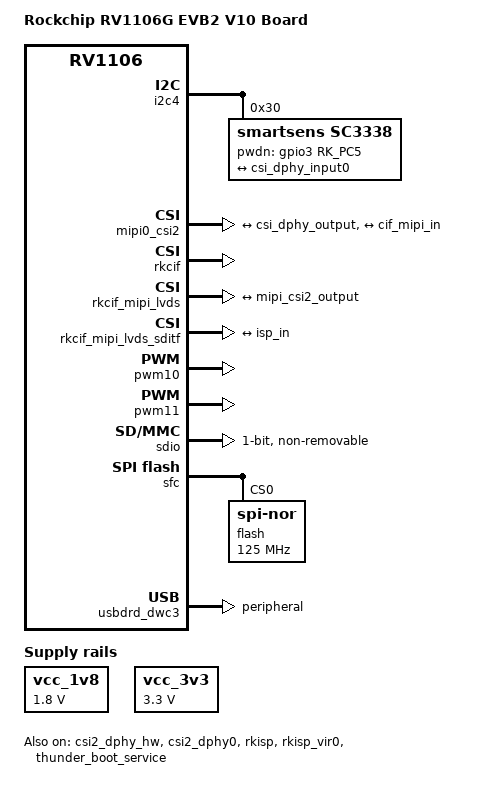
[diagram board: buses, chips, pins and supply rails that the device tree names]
// SPDX-License-Identifier: (GPL-2.0+ OR MIT)
/*
 * Copyright (c) 2022 Rockchip Electronics Co., Ltd.
 */

/dts-v1/;

#include "rv1106.dtsi"
#include "rv1106-evb-v10.dtsi"
#include "rv1106-thunder-boot-spi-nor.dtsi"

/ {
	model = "Rockchip RV1106G EVB2 V10 Board";
	compatible = "rockchip,rv1106g-evb2-v10", "rockchip,rv1106";

	chosen {
		bootargs = "loglevel=0 rootfstype=erofs rootflags=dax console=ttyFIQ0 root=/dev/rd0 snd_soc_core.prealloc_buffer_size_kbytes=16 coherent_pool=0 driver_async_probe=dwmmc_rockchip";
	};

	vcc_1v8: vcc-1v8 {
		compatible = "regulator-fixed";
		regulator-name = "vcc_1v8";
		regulator-always-on;
		regulator-boot-on;
		regulator-min-microvolt = <1800000>;
		regulator-max-microvolt = <1800000>;
	};

	vcc_3v3: vcc-3v3 {
		compatible = "regulator-fixed";
		regulator-name = "vcc_3v3";
		regulator-always-on;
		regulator-boot-on;
		regulator-min-microvolt = <3300000>;
		regulator-max-microvolt = <3300000>;
	};
};

&csi2_dphy_hw {
	status = "okay";
};

&csi2_dphy0 {
	status = "okay";

	ports {
		#address-cells = <1>;
		#size-cells = <0>;

		port@0 {
			reg = <0>;
			#address-cells = <1>;
			#size-cells = <0>;

			csi_dphy_input0: endpoint@0 {
				reg = <0>;
				remote-endpoint = <&sc3338_out>;
				data-lanes = <1 2>;
			};
		};

		port@1 {
			reg = <1>;
			#address-cells = <1>;
			#size-cells = <0>;

			csi_dphy_output: endpoint@0 {
				reg = <0>;
				remote-endpoint = <&mipi_csi2_input>;
			};
		};
	};
};

&emmc {
	status = "disabled";
};

&fiq_debugger {
	rockchip,baudrate = <1500000>;
	pinctrl-names = "default";
	pinctrl-0 = <&uart2m1_xfer>;
};

&i2c4 {
	rockchip,amp-shared;

	sc3338: sc3338@30 {
		compatible = "smartsens,sc3338";
		status = "okay";
		reg = <0x30>;
		clocks = <&cru MCLK_REF_MIPI0>;
		clock-names = "xvclk";
		pwdn-gpios = <&gpio3 RK_PC5 GPIO_ACTIVE_HIGH>;
		pinctrl-names = "default";
		pinctrl-0 = <&mipi_refclk_out0>;
		rockchip,camera-module-index = <0>;
		rockchip,camera-module-facing = "back";
		rockchip,camera-module-name = "FKO1";
		rockchip,camera-module-lens-name = "30IRC-F16";
		port {
			sc3338_out: endpoint {
				remote-endpoint = <&csi_dphy_input0>;
				data-lanes = <1 2>;
			};
		};
	};
};

&mipi0_csi2 {
	status = "okay";

	ports {
		#address-cells = <1>;
		#size-cells = <0>;

		port@0 {
			reg = <0>;
			#address-cells = <1>;
			#size-cells = <0>;

			mipi_csi2_input: endpoint@1 {
				reg = <1>;
				remote-endpoint = <&csi_dphy_output>;
			};
		};

		port@1 {
			reg = <1>;
			#address-cells = <1>;
			#size-cells = <0>;

			mipi_csi2_output: endpoint@0 {
				reg = <0>;
				remote-endpoint = <&cif_mipi_in>;
			};
		};
	};
};

&mailbox {
	status = "okay";
};

&rkcif {
	status = "okay";
};

&rkcif_mipi_lvds {
	status = "okay";
	memory-region-thunderboot = <&rkisp_thunderboot>;

	pinctrl-names = "default";
	pinctrl-0 = <&mipi_pins>;
	port {
		/* MIPI CSI-2 endpoint */
		cif_mipi_in: endpoint {
			remote-endpoint = <&mipi_csi2_output>;
		};
	};
};

&rkcif_mipi_lvds_sditf {
	status = "okay";

	port {
		/* MIPI CSI-2 endpoint */
		mipi_lvds_sditf: endpoint {
			remote-endpoint = <&isp_in>;
		};
	};
};

&rkisp {
	status = "okay";
};

&rkisp_vir0 {
	status = "okay";

	port@0 {
		isp_in: endpoint {
			remote-endpoint = <&mipi_lvds_sditf>;
		};
	};
};

&thunder_boot_service {
	status = "okay";
};

&rkisp_thunderboot {
	/* reg's offset MUST match with RTOS */
	/*
	 * vicap, capture raw10, ceil(w*10/8/256)*256*h *4(buf num)
	 * e.g. 2304x1296: 0xf30000
	 */
	reg = <0x00860000 0xf30000>;
};

&ramdisk_r {
	reg = <0x1790000 (10 * 0x00100000)>;
};

&ramdisk_c {
	reg = <0x2190000 (5 * 0x00100000)>;
};

&pwm10 {
	status = "okay";
};

&pwm11 {
	status = "okay";
};

&sdio {
	max-frequency = <50000000>;
	bus-width = <1>;
	cap-sd-highspeed;
	cap-sdio-irq;
	keep-power-in-suspend;
	non-removable;
	rockchip,default-sample-phase = <90>;
	no-sd;
	no-mmc;
	supports-sdio;
	pinctrl-names = "default";
	pinctrl-0 = <&sdmmc1m0_cmd &sdmmc1m0_clk &sdmmc1m0_bus4>;
	status = "okay";
};

&sfc {
	assigned-clocks = <&cru SCLK_SFC>;
	assigned-clock-rates = <125000000>;
	status = "okay";

	flash@0 {
		compatible = "jedec,spi-nor";
		reg = <0>;
		spi-max-frequency = <125000000>;
		spi-rx-bus-width = <4>;
		spi-tx-bus-width = <1>;
	};
};

&usbdrd_dwc3 {
	dr_mode = "peripheral";
};
